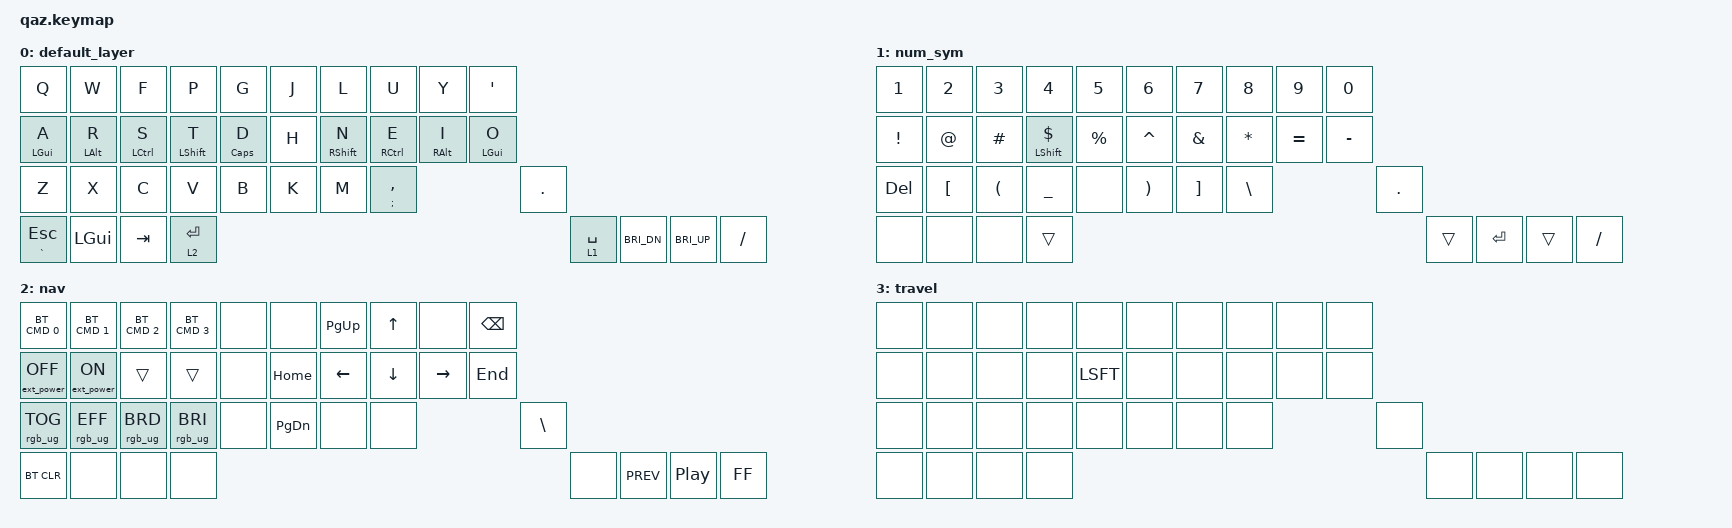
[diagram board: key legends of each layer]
/*
 * Copyright (c) 2020 The ZMK Contributors
 *
 * SPDX-License-Identifier: MIT
 */

#include <behaviors.dtsi>
#include <dt-bindings/zmk/keys.h>
#include <dt-bindings/zmk/bt.h>
#include <dt-bindings/zmk/rgb.h>
#include <dt-bindings/zmk/ext_power.h>

#define DEFAULT 0
#define NUM_SYM 1
#define NAV     2
#define TRAVEL	3

/ {
	behaviors {
		rst: boot_reset 
		{
			compatible = "zmk,behavior-hold-tap";
			label = "Bootloader Tap - Reset Hold";
			#binding-cells = <2>;
			tapping_term_ms = <200>;
            flavor = "balanced";
			bindings = <&reset>, <&bootloader>;
        };

        bh: layer_taps 
		{
			compatible = "zmk,behavior-hold-tap";
			label = "Layer-Tap";
			#binding-cells = <2>;
			tapping_term_ms = <215>;
            flavor = "tap-preferred";
			bindings = <&mo>, <&kp>;
        };

        hm: homerow_mods0 
		{
			compatible = "zmk,behavior-hold-tap";
			label = "homerow mods";
			#binding-cells = <2>;
			tapping_term_ms = <230>;
            flavor = "tap-preferred";
			bindings = <&kp>, <&kp>;
        };
        
        hm1: homerow_mods1 
		{
			compatible = "zmk,behavior-hold-tap";
			label = "homerow mods";
			#binding-cells = <2>;
			tapping_term_ms = <205>;
            flavor = "tap-preferred";
			bindings = <&kp>, <&kp>;
        };

        hm2: homerow_mods2 
		{
			compatible = "zmk,behavior-hold-tap";
			label = "homerow mods 2";
			#binding-cells = <2>;
			tapping_term_ms = <250>;
            flavor = "tap-preferred";
			bindings = <&kp>, <&kp>;
        };

        com_col: comma_semicolon
		{
		 	compatible = "zmk,behavior-hold-tap";
	     	label = "Tap comma_hold colon";
			#binding-cells = <2>;
			tapping_term_ms = <150>;
            flavor = "balanced";
		 	bindings = <&kp>, <&kp>;
	    };
   	 };
};

/ {
	combos {
		compatible = "zmk,combos";
		combo_backspce 
		{
			timeout-ms = <40>;
			key-positions = <8 9>;
			bindings = <&kp BSPC>;
			layers = <0 1 2>;
		};
		combo_gesc 
		{
			timeout-ms = <30>;
			key-positions = <0 1>;
			bindings = <&com_col GRAVE ESC>;
			layers = <0 1 2>;
		};
		combo_tab 
		{
			timeout-ms = <35>;
			key-positions = <11 12>;
			bindings = <&kp TAB>;
			layers = <0 1 2>;
		};
		combo_mnxt 
		{
			timeout-ms = <30>;
			key-positions = <35 36>;
			bindings = <&kp C_NEXT>;
			layers = <0>;
		};
		combo_mprev 
		{
			timeout-ms = <30>;
			key-positions = <34 35>;
			bindings = <&kp C_PREV>;
			layers = <0>;
		};
		combo_mpp 
		{
			timeout-ms = <30>;
			key-positions = <34 36>;
			bindings = <&kp C_PP>;
			layers = <0>;
		};
		combo_del 
		{
			timeout-ms = <40>;
			key-positions = <7 8 9>;
			bindings = <&kp DEL>;
			layers = <0 1 2>;
		};
		combo_reset 
		{
			timeout-ms = <40>;
			key-positions = <20 28>;
			bindings = <&rst 0 0>;
			layers = <0>;
		};
		combo_to_travel 
		{
			timeout-ms = <40>;
			key-positions = <3 4 5 6>;
			bindings = <&to 3>;
			layers = <0>;
		};
		combo_to_base 
		{
			timeout-ms = <40>;
			key-positions = <13 16>;
			bindings = <&to 0>;
			layers = <3>;
		};
	};
};
	
/ {
    keymap {
        compatible = "zmk,keymap";

        default_layer {
            bindings = <
    &kp Q &kp W &kp F &kp P &kp G &kp J &kp L &kp U &kp Y &kp SQT    
    &hm2 LGUI A &hm LALT R &hm LCTRL S &hm1 LSHFT T &hm2 CLCK D &kp H &hm1 RSHFT N &hm RCTRL E &hm RALT I &hm2 LGUI O
    &kp Z &kp X &kp C &kp V &kp B &kp K &kp M &com_col SEMI COMMA &kp DOT
    &com_col GRAVE ESC &kp LGUI &kp TAB &bh 2 RET &bh 1 SPACE &kp C_BRI_DN &kp C_BRI_UP &kp FSLH
            >;
        };

        num_sym {
            bindings = <
    &kp N1 &kp N2 &kp N3 &kp N4 &kp N5 &kp N6 &kp N7 &kp N8 &kp N9 &kp N0    
    &kp EXCL &kp AT &kp POUND &hm LSHFT DLLR &kp PRCNT &kp CARET &kp AMPS &kp STAR &kp EQUAL &kp MINUS       
    &kp DEL &kp LBKT &kp LPAR &kp UNDER &none &kp RPAR &kp RBKT &kp BSLH &kp DOT
    &none &none &none &trans &trans &kp RET &trans &kp FSLH
            >;
        };

    nav {
            bindings = <
    &bt BT_SEL_CMD 0 &bt BT_SEL_CMD 1 &bt BT_SEL_CMD 2 &bt BT_SEL_CMD 3 &none &none &kp PG_UP &kp UP &none &kp BSPC    
    &ext_power EP_OFF &ext_power EP_ON &trans &trans &none &kp HOME &kp LEFT &kp DOWN &kp RIGHT &kp END       
    &rgb_ug RGB_TOG &rgb_ug RGB_EFF &rgb_ug RGB_BRD &rgb_ug RGB_BRI &none &kp PG_DN &none &none &kp BSLH
    &bt BT_CLR &none &none &none &none &kp C_PREV &kp C_PP &kp C_FF
            >;
        };
    travel {
            bindings = <
    &none &none &none &none &none &none &none &none &none &none    
    &none &none &none &none &kp LSFT &none &none &none &none &none       
    &none &none &none &none &none &none &none &none &none
    &none &none &none &none &none &none &none &none
            >;
        };
    };
};
